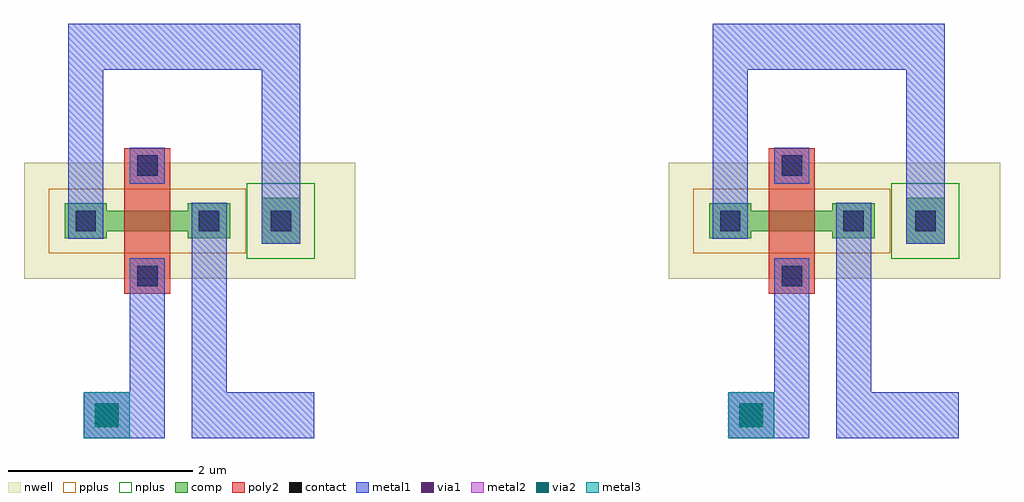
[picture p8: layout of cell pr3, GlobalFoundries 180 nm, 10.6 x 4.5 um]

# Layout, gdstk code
import gdstk
lib = gdstk.Library(unit=1e-6, precision=1e-09)
def R(c, l, rs):  # rectangles x0, y0, x1, y1
    for r in rs: c.add(gdstk.rectangle(r[:2], r[2:], *l))
nwell = (21, 0)
comp = (22, 0)
poly2 = (30, 0)
pplus = (31, 0)
nplus = (32, 0)
contact = (33, 0)
metal1 = (34, 0)
via1 = (35, 0)
metal2 = (36, 0)
via2 = (38, 0)
metal3 = (42, 0)

pfet__16 = lib.new_cell('pfet__16')
R(pfet__16, nwell, [(-0.9,-0.52,1.78,0.74)])
R(pfet__16, comp, [(-0.46,-0.08,0,0.3), (0.88,-0.08,1.34,0.3), (0,0,0.88,0.22)])
R(pfet__16, poly2, [(0.19,-0.68,0.69,-0.3), (0.19,-0.3,0.69,0.52), (0.19,0.52,0.69,0.9)])
R(pfet__16, pplus, [(-0.63,-0.24,1.51,0.46)])
R(pfet__16, contact, [(0.33,-0.6,0.55,-0.38), (-0.34,0,-0.12,0.22), (1,0,1.22,0.22), (0.33,0.6,0.55,0.82)])
R(pfet__16, metal1, [(0.25,-0.685,0.63,-0.295), (-0.42,-0.085,-0.04,0.305), (0.92,-0.085,1.3,0.305), (0.25,0.515,0.63,0.905)])

pr3 = lib.new_cell('pr3')
R(pr3, nwell, [(-0.1,-0.52,2.7,0.74), (6.9,-0.52,9.7,0.74)])
R(pr3, comp, [(1.68,-0.14,2.1,0.36), (8.68,-0.14,9.1,0.36)])
R(pr3, nplus, [(1.52,-0.3,2.26,0.52), (8.52,-0.3,9.26,0.52)])
R(pr3, contact, [(1.78,0,2,0.22), (8.78,0,9,0.22)])
R(pr3, metal1, [(-0.25,-2.25,0.63,-1.75), (0.25,-2.25,0.63,-0.665), (0.92,-2.25,1.3,-0.065), (0.92,-2.25,2.25,-1.75), (6.75,-2.25,7.63,-1.75), (7.25,-2.25,7.63,-0.665), (7.92,-2.25,8.3,-0.065), (7.92,-2.25,9.25,-1.75), (1.68,-0.14,2.1,0.36), (8.68,-0.14,9.1,0.36), (-0.42,0.285,-0.04,2.25), (6.58,0.285,6.96,2.25), (1.68,0.34,2.1,2.25), (8.68,0.34,9.1,2.25), (-0.42,1.75,2.1,2.25), (6.58,1.75,9.1,2.25)])
R(pr3, via1, [(-0.13,-2.13,0.13,-1.87), (6.87,-2.13,7.13,-1.87)])
R(pr3, metal2, [(-0.25,-2.25,0.25,-1.75), (6.75,-2.25,7.25,-1.75)])
R(pr3, via2, [(-0.13,-2.13,0.13,-1.87), (6.87,-2.13,7.13,-1.87)])
R(pr3, metal3, [(-0.25,-2.25,0.25,-1.75), (6.75,-2.25,7.25,-1.75)])
pr3.add(gdstk.Reference(pfet__16, (0,0)))
pr3.add(gdstk.Reference(pfet__16, (7,0)))

lib.write_gds('pr3.gds')
